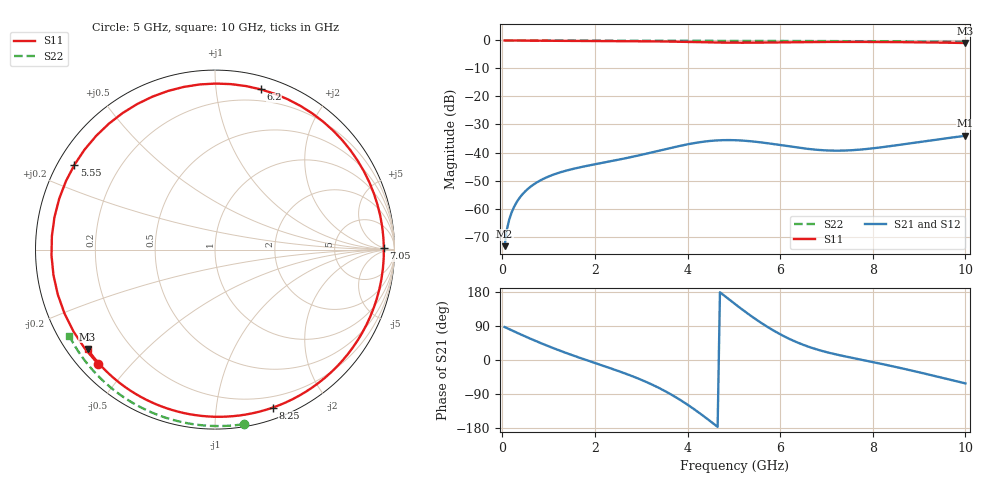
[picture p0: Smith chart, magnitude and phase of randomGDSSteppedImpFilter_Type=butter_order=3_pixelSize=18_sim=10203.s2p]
! freq	dB(S11)	phase(S11)	dB(S12)	phase(S12)
!  dB(S21)	phase(S21)	dB(S22)	phase(S22)
!S-par simulation data
#  GHz  S  DB  R 50
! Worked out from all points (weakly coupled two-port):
!   200 points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, 50 MHz to 10 GHz, reference 50 ohm
!   highest |S21| = -34.04 dB at 10 GHz (marker M1); lowest = -73.4 dB at 50 MHz (marker M2)
!   lowest |S11| = -0.9 dB at 10 GHz (marker M3), VSWR 19.11, Z = 2.92 - j17.1 ohm
!   |S11| at or under -10 dB: nowhere
!   |S22| runs from -0.5 to 0.0 dB; largest |S21 - S12| = 0
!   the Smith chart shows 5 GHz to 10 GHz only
!   S11 on the Smith chart (normalised r, x): 5 GHz: 0.05, -0.41; 5.55 GHz: 0.05, +0.28; 6.2 GHz: 0.10, +1.32; 7.05 GHz: 32, +5; 8.25 GHz: 0.10, -1.42; 10 GHz: 0.06, -0.34
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0.05  -0.00 -4.9  -73.43 87.1  -73.43 87.1  -0.00 -0.9
0.15  -0.02 -14.5  -63.93 81.3  -63.93 81.3  -0.00 -2.6
0.3  -0.04 -28.8  -58.02 72.9  -58.02 72.9  -0.01 -5.2
0.85  -0.10 -79.0  -49.70 43.6  -49.70 43.6  -0.02 -14.5
1.25  -0.13 -112.4  -47.08 24.4  -47.08 24.4  -0.03 -21.3
1.75  -0.16 -151.2  -45.03 2.5  -45.03 2.5  -0.04 -29.7
2.55  -0.22 148.4  -42.43 -31.0  -42.43 -31.0  -0.06 -42.8
3  -0.27 111.4  -40.84 -52.2  -40.84 -52.2  -0.07 -50.1
3.4  -0.34 74.1  -39.30 -74.8  -39.30 -74.8  -0.08 -56.4
3.85  -0.47 24.7  -37.59 -106.0  -37.59 -106.0  -0.09 -63.4
4.15  -0.57 -13.3  -36.63 -130.5  -36.63 -130.5  -0.10 -68.0
4.6  -0.73 -76.8  -35.71 -171.7  -35.71 -171.7  -0.11 -74.8
5  -0.81 -135.5  -35.59 150.1  -35.59 150.1  -0.13 -80.7
5.05  -0.81 -142.7  -35.62 145.4  -35.62 145.4  -0.13 -81.5
5.55  -0.77 148.9  -36.31 101.2  -36.31 101.2  -0.15 -88.7
5.85  -0.72 112.2  -36.97 78.3  -36.97 78.3  -0.16 -93.0
6.2  -0.64 74.1  -37.82 55.6  -37.82 55.6  -0.18 -97.9
6.7  -0.56 27.8  -38.88 31.4  -38.88 31.4  -0.20 -104.9
7.05  -0.53 0.5  -39.29 19.3  -39.29 19.3  -0.23 -109.7
8.25  -0.56 -70.0  -38.00 -11.8  -38.00 -11.8  -0.32 -125.9
8.35  -0.57 -74.7  -37.78 -14.5  -37.78 -14.5  -0.33 -127.2
10  -0.91 -142.1  -34.04 -61.7  -34.04 -61.7  -0.50 -149.3
